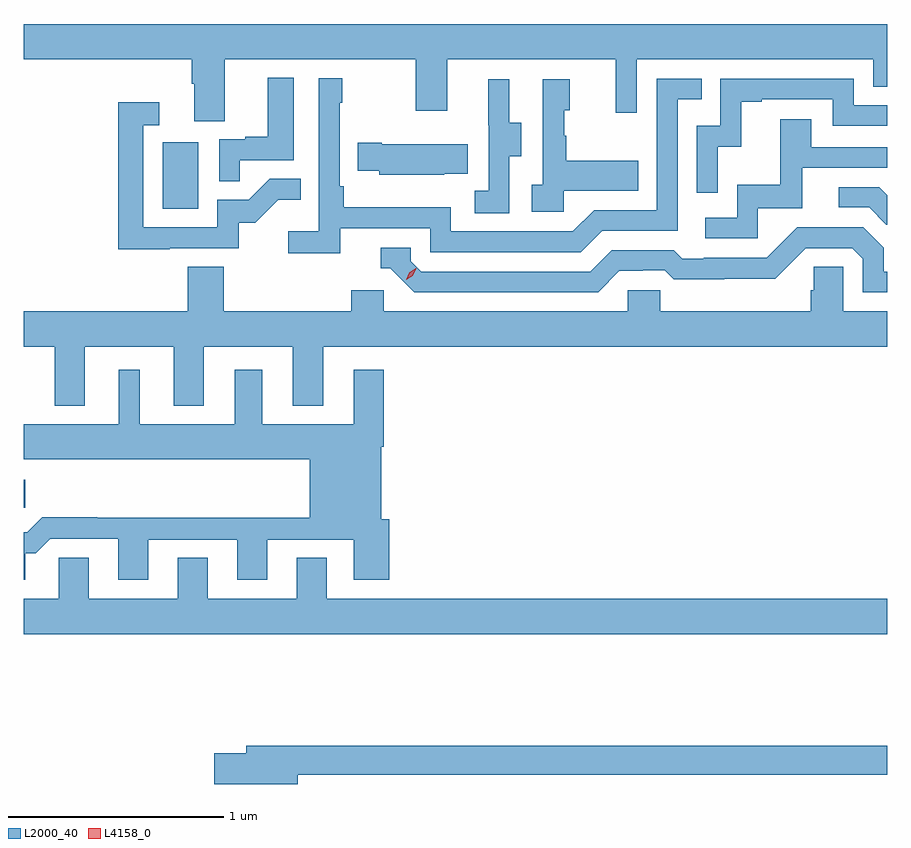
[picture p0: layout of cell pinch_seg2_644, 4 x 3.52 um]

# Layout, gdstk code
import gdstk
lib = gdstk.Library(unit=1e-6, precision=1e-09)
def R(c, l, rs):  # rectangles x0, y0, x1, y1
    for r in rs: c.add(gdstk.rectangle(r[:2], r[2:], *l))
def P(c, l, *ps):  # polygons
    for p in ps: c.add(gdstk.Polygon(p, *l))
L2000_40 = (2000, 40)
L4158_0 = (4158, 0)

pinch_seg2_644 = lib.new_cell('pinch_seg2_644')
R(pinch_seg2_644, L2000_40, [(1029.589,588.283,1029.595,588.412), (1030.232,589.668,1030.396,589.975)])
P(pinch_seg2_644, L2000_40, [(1030.519,590.36),(1031.404,590.36),(1031.404,590.121),(1031.551,590.121),(1031.551,590.36),(1032.332,590.36),(1032.332,590.112),(1032.429,590.112),(1032.429,590.36),(1033.524,590.36),(1033.524,590.233),(1033.589,590.233),(1033.589,590.524),(1029.589,590.524),(1029.589,590.36),(1030.367,590.36),(1030.367,590.248),(1030.379,590.248),(1030.379,590.074),(1030.519,590.074)],
  [(1030.589,589.893),(1030.84,589.893),(1030.84,590.275),(1030.718,590.275),(1030.718,590.002),(1030.615,590.002),(1030.615,589.989),(1030.494,589.989),(1030.494,589.795),(1030.589,589.795)],
  [(1031.054,589.578),(1031.472,589.578),(1031.472,589.467),(1032.169,589.467),(1032.268,589.566),(1032.618,589.566),(1032.618,590.175),(1032.731,590.175),(1032.731,590.271),(1032.522,590.271),(1032.522,589.662),(1032.231,589.662),(1032.132,589.563),(1031.568,589.563),(1031.568,589.675),(1031.072,589.675),(1031.072,589.771),(1031.052,589.771),(1031.052,590.159),(1031.065,590.159),(1031.065,590.272),(1030.956,590.272),(1030.956,589.564),(1030.815,589.564),(1030.815,589.462),(1031.054,589.462)],
  [(1032.804,589.955),(1032.914,589.955),(1032.914,590.163),(1033.009,590.163),(1033.009,590.175),(1033.338,590.175),(1033.338,590.052),(1033.589,590.052),(1033.589,590.148),(1033.434,590.148),(1033.434,590.271),(1032.816,590.271),(1032.816,590.052),(1032.708,590.052),(1032.708,589.743),(1032.804,589.743)],
  [(1032.09,589.751),(1032.437,589.751),(1032.437,589.891),(1032.103,589.891),(1032.103,590.006),(1032.093,590.006),(1032.093,590.124),(1032.118,590.124),(1032.118,590.269),(1031.994,590.269),(1031.994,589.778),(1031.943,589.778),(1031.943,589.653),(1032.09,589.653)],
  [(1031.838,589.912),(1031.893,589.912),(1031.893,590.067),(1031.839,590.067),(1031.839,590.269),(1031.741,590.269),(1031.741,590.055),(1031.742,590.055),(1031.742,589.751),(1031.679,589.751),(1031.679,589.648),(1031.838,589.648)],
  [(1030.265,589.485),(1030.584,589.485),(1030.584,589.602),(1030.66,589.602),(1030.767,589.709),(1030.871,589.709),(1030.871,589.808),(1030.728,589.808),(1030.63,589.71),(1030.485,589.71),(1030.485,589.581),(1030.143,589.581),(1030.143,590.055),(1030.216,590.055),(1030.216,590.161),(1030.027,590.161),(1030.027,589.48),(1030.265,589.48)],
  [(1032.99,589.671),(1033.195,589.671),(1033.195,589.857),(1033.589,589.857),(1033.589,589.953),(1033.237,589.953),(1033.237,590.083),(1033.093,590.083),(1033.093,589.78),(1032.894,589.78),(1032.894,589.626),(1032.747,589.626),(1032.747,589.53),(1032.99,589.53)],
  [(1031.537,589.829),(1031.645,589.829),(1031.645,589.966),(1031.248,589.966),(1031.248,589.974),(1031.137,589.974),(1031.137,589.844),(1031.235,589.844),(1031.235,589.826),(1031.537,589.826)],
  [(1033.589,589.73),(1033.552,589.767),(1033.365,589.767),(1033.365,589.674),(1033.506,589.674),(1033.586,589.594),(1033.589,589.594)],
  [(1032.349,589.38),(1032.456,589.38),(1032.456,589.383),(1032.559,589.383),(1032.601,589.341),(1032.834,589.341),(1032.834,589.343),(1033.07,589.343),(1033.212,589.485),(1033.428,589.485),(1033.476,589.437),(1033.476,589.281),(1033.589,589.281),(1033.589,589.377),(1033.573,589.377),(1033.573,589.487),(1033.479,589.581),(1033.173,589.581),(1033.032,589.44),(1032.739,589.44),(1032.739,589.437),(1032.64,589.437),(1032.601,589.476),(1032.312,589.476),(1032.213,589.377),(1031.43,589.377),(1031.382,589.425),(1031.382,589.488),(1031.243,589.488),(1031.243,589.392),(1031.286,589.392),(1031.397,589.281),(1032.25,589.281)],
  [(1029.589,589.028),(1029.731,589.028),(1029.731,588.755),(1029.871,588.755),(1029.871,589.028),(1030.283,589.028),(1030.283,588.755),(1030.423,588.755),(1030.423,589.028),(1030.835,589.028),(1030.835,588.755),(1030.975,588.755),(1030.975,589.028),(1033.589,589.028),(1033.589,589.192),(1033.386,589.192),(1033.386,589.4),(1033.249,589.4),(1033.249,589.29),(1033.235,589.29),(1033.235,589.192),(1032.537,589.192),(1032.537,589.29),(1032.387,589.29),(1032.387,589.192),(1031.256,589.192),(1031.256,589.29),(1031.105,589.29),(1031.105,589.192),(1030.514,589.192),(1030.514,589.4),(1030.349,589.4),(1030.349,589.192),(1029.589,589.192)],
  [(1029.595,588.071),(1029.644,588.071),(1029.711,588.138),(1030.025,588.138),(1030.025,587.949),(1030.165,587.949),(1030.165,588.135),(1030.577,588.135),(1030.577,587.949),(1030.717,587.949),(1030.717,588.135),(1031.117,588.135),(1031.117,587.949),(1031.282,587.949),(1031.282,588.228),(1031.245,588.228),(1031.245,588.566),(1031.257,588.566),(1031.257,588.922),(1031.117,588.922),(1031.117,588.67),(1030.693,588.67),(1030.693,588.922),(1030.565,588.922),(1030.565,588.67),(1030.126,588.67),(1030.126,588.922),(1030.028,588.922),(1030.028,588.67),(1029.589,588.67),(1029.589,588.506),(1030.913,588.506),(1030.913,588.236),(1029.929,588.236),(1029.929,588.239),(1029.674,588.239),(1029.604,588.169),(1029.589,588.169),(1029.589,587.949),(1029.595,587.949)],
  [(1033.589,587.86),(1030.993,587.86),(1030.993,588.05),(1030.853,588.05),(1030.853,587.86),(1030.441,587.86),(1030.441,588.05),(1030.301,588.05),(1030.301,587.86),(1029.889,587.86),(1029.889,588.05),(1029.75,588.05),(1029.75,587.86),(1029.589,587.86),(1029.589,587.696),(1033.589,587.696)],
  [(1030.858,587.044),(1033.589,587.044),(1033.589,587.18),(1030.619,587.18),(1030.619,587.144),(1030.47,587.144),(1030.47,587.002),(1030.858,587.002)])
P(pinch_seg2_644, L4158_0, [(1031.36,589.338),(1031.36,589.338),(1031.375,589.371),(1031.405,589.391),(1031.406,589.391),(1031.406,589.391),(1031.39,589.358),(1031.36,589.338)])

lib.write_gds('pinch_seg2_644.gds')
